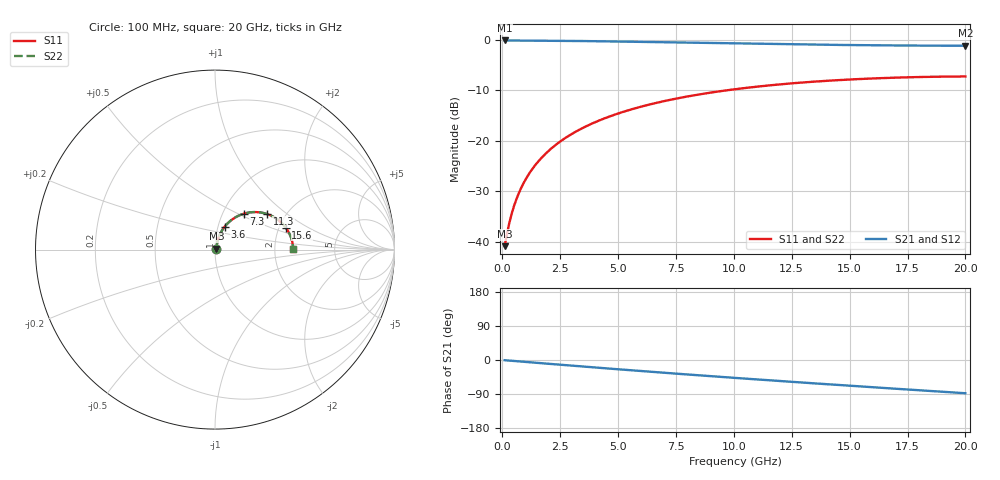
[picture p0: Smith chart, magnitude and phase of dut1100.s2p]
! Touchstone file exported from HFSS 2026.1.0
!  File:  C:/ffzhzh/LocalFiles/Ansys_Project_Files/temp_train_TSV_RDL_1100_1783303012_39728.aedt
!  Generated:  10:09:09 AM Jul  6, 2026
!  Design:  TSV_RDL
!  Project:  temp_train_TSV_RDL_1100_1783303012_39728
! Variables:
!  h_bsmrdl = 3.3um
!  h_ox = 20um
!  h_rdl = 5um
!  h_sub = 54.58um
!  h_tmrdl = 4.9um
!  h_tsv = 54.58um
!  h_via = 3um
!  l_bsmrdl = 113.6um
!  l_sub = 1536.59um
!  l_tmrdl = 159.07um
!  m_sub = 200um
!  pitch = 44.55um
!  r_tsv = 3.46um
!  s_tmrdl = 10um
!  w_bsmrdl = 26.28um
!  w_sub = 500um
!  w_tmrdl = 26.89um
!  x_tsv_center1 = 172.515um
!  x_tsv_center2 = 312.395um
!  x_tsv_center3 = 498.355um
!  x_tsv_center4 = 638.235um
!  x_tsv_center5 = 824.195um
!  x_tsv_center6 = 964.075um
# GHz S MA R 50.000000
! Terminal data exported
! Port[1] = TM_RDL1_1_T1
! Port[2] = TM_RDL5_1_T1
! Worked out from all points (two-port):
!   200 points, 100 MHz to 20 GHz, reference 50 ohm
!   highest |S21| = -0.07 dB at 100 MHz (marker M1); lowest = -1.1 dB at 20 GHz (marker M2)
!   |S21| within 3 dB of the highest: start of sweep to end of sweep
!   lowest |S11| = -40.9 dB at 100 MHz (marker M3), VSWR 1.02, Z = 50.8 + j0.44 ohm
!   |S11| at or under -10 dB: start of sweep to 9.64 GHz
!   |S22| runs from -40.9 to -7.2 dB; largest |S21 - S12| = 1.1e-14
!   S11 on the Smith chart (normalised r, x): 100 MHz: 1.02, +0.01; 3.6 GHz: 1.08, +0.28; 7.3 GHz: 1.26, +0.54; 11.3 GHz: 1.61, +0.73; 15.6 GHz: 2.17, +0.64; 20 GHz: 2.54, +0.02
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0.1  0.009005 28.7  0.9921 -0.5  0.9921 -0.5  0.009005 28.7
! Gamma 0 0 0 0
! Port Impedance 50 0 50 0
0.3  0.01519 54.8  0.9915 -1.5  0.9915 -1.5  0.01519 54.8
0.4  0.0187 60.4  0.9912 -2.0  0.9912 -2.0  0.0187 60.4
0.5  0.02231 64.3  0.991 -2.5  0.991 -2.5  0.02231 64.3
0.6  0.02599 66.9  0.9908 -3.0  0.9908 -3.0  0.02599 66.9
0.8  0.03351 70.2  0.9904 -4.0  0.9904 -4.0  0.03351 70.2
1  0.04114 72.0  0.99 -5.0  0.99 -5.0  0.04114 72.0
1.2  0.04883 72.8  0.9894 -6.0  0.9894 -6.0  0.04883 72.8
1.7  0.06807 73.1  0.9878 -8.5  0.9878 -8.5  0.06807 73.1
2.2  0.08714 72.1  0.9858 -11.0  0.9858 -11.0  0.08714 72.1
2.8  0.1096 70.2  0.9828 -13.9  0.9828 -13.9  0.1096 70.2
3.5  0.1352 67.5  0.9787 -17.3  0.9787 -17.3  0.1352 67.5
3.6  0.1387 67.1  0.978 -17.8  0.978 -17.8  0.1387 67.1
5  0.1868 61.2  0.9681 -24.5  0.9681 -24.5  0.1868 61.2
6.8  0.2426 53.3  0.9537 -32.8  0.9537 -32.8  0.2426 53.3
7.3  0.2568 51.2  0.9495 -35.1  0.9495 -35.1  0.2568 51.2
10.1  0.3265 39.3  0.9262 -47.5  0.9262 -47.5  0.3265 39.4
11.3  0.3509 34.4  0.9168 -52.6  0.9168 -52.6  0.3509 34.4
13.4  0.3861 26.0  0.9023 -61.3  0.9023 -61.3  0.3861 26.0
15.6  0.4126 17.3  0.8904 -70.3  0.8904 -70.3  0.4126 17.3
16.7  0.4221 13.1  0.8859 -74.7  0.8859 -74.7  0.4221 13.1
20  0.4356 0.4  0.8792 -87.7  0.8792 -87.7  0.4356 0.5
